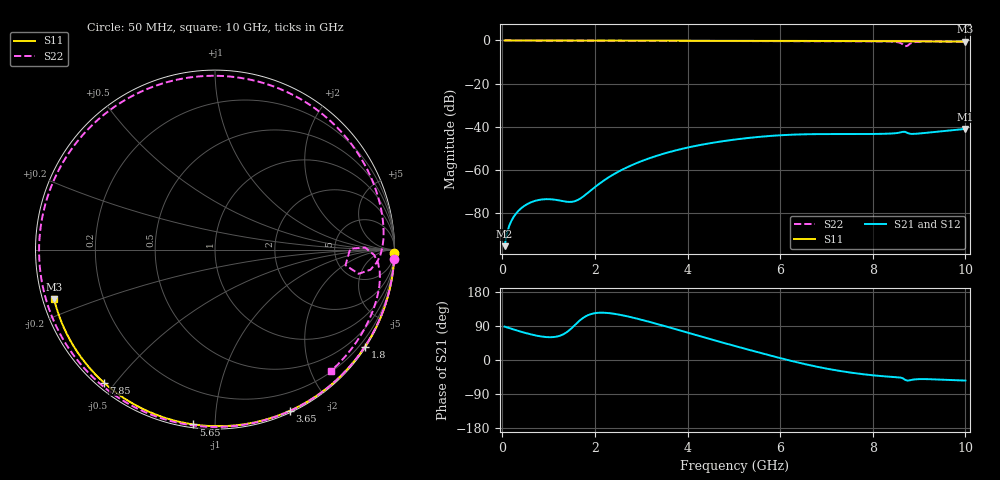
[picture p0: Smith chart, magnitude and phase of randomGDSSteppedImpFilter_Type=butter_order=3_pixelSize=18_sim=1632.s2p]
! freq	dB(S11)	phase(S11)	dB(S12)	phase(S12)
!  dB(S21)	phase(S21)	dB(S22)	phase(S22)
!S-par simulation data
#  GHz  S  DB  R 50
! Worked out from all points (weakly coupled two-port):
!   200 points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, 50 MHz to 10 GHz, reference 50 ohm
!   highest |S21| = -41.05 dB at 10 GHz (marker M1); lowest = -95.5 dB at 50 MHz (marker M2)
!   lowest |S11| = -0.6 dB at 10 GHz (marker M3), VSWR 31.15, Z = 1.64 - j7.52 ohm
!   |S11| at or under -10 dB: nowhere
!   |S22| runs from -2.7 to 0.0 dB; largest |S21 - S12| = 0
!   S11 on the Smith chart (normalised r, x): 50 MHz: open; 1.8 GHz: 0.03, -3.38; 3.65 GHz: 0.02, -1.57; 5.65 GHz: 0.02, -0.88; 7.85 GHz: 0.02, -0.47; 10 GHz: 0.03, -0.15
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0.05  -0.00 -0.9  -95.50 88.1  -95.50 88.1  -0.00 -3.1
0.3  -0.01 -5.6  -80.27 78.5  -80.27 78.5  -0.03 -18.2
0.6  -0.02 -11.1  -75.32 68.2  -75.32 68.2  -0.05 -36.0
0.95  -0.02 -17.6  -73.68 60.5  -73.68 60.5  -0.07 -56.1
1.5  -0.03 -27.6  -74.91 84.3  -74.91 84.3  -0.10 -85.4
1.75  -0.04 -32.1  -72.40 111.5  -72.40 111.5  -0.11 -97.8
1.8  -0.04 -33.0  -71.57 115.3  -71.57 115.3  -0.11 -100.2
2.6  -0.06 -47.1  -59.87 117.8  -59.87 117.8  -0.14 -135.9
3.4  -0.08 -60.9  -53.11 93.2  -53.11 93.2  -0.16 -167.7
3.65  -0.09 -65.0  -51.56 84.5  -51.56 84.5  -0.17 -177.1
4.35  -0.11 -76.5  -48.22 59.9  -48.22 59.9  -0.20 157.1
5.05  -0.13 -87.7  -45.93 36.1  -45.93 36.1  -0.23 131.7
5.65  -0.16 -97.0  -44.56 16.3  -44.56 16.3  -0.26 109.7
6.2  -0.19 -105.4  -43.79 -1.1  -43.79 -1.1  -0.28 89.2
6.7  -0.22 -112.9  -43.49 -15.3  -43.49 -15.3  -0.30 70.2
7.85  -0.31 -129.9  -43.44 -38.3  -43.44 -38.3  -0.37 25.9
8.35  -0.35 -137.3  -43.26 -43.9  -43.26 -43.9  -0.50 5.6
8.55  -0.37 -140.3  -42.88 -45.5  -42.88 -45.5  -0.86 -4.4
8.7  -0.39 -142.5  -42.44 -52.4  -42.44 -52.4  -2.71 -6.8
8.8  -0.40 -144.0  -43.31 -53.5  -43.31 -53.5  -1.55 0.8
9.05  -0.43 -147.8  -43.10 -50.4  -43.10 -50.4  -0.56 -12.4
10  -0.56 -162.9  -41.05 -54.3  -41.05 -54.3  -0.58 -46.4
